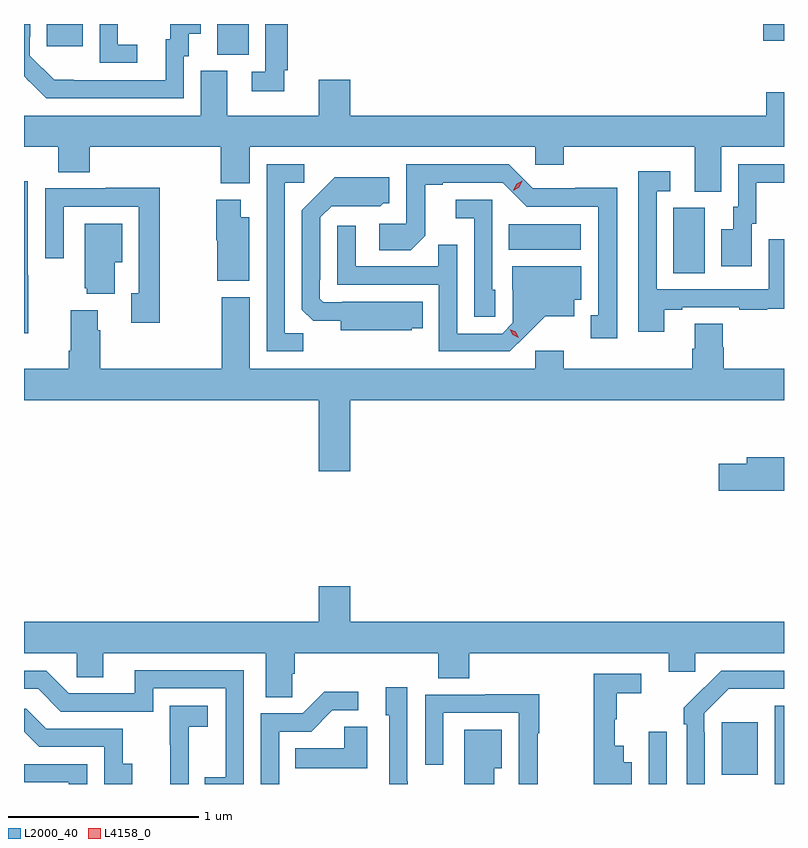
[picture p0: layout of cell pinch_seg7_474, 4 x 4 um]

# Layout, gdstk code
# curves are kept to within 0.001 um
import gdstk
lib = gdstk.Library(unit=1e-6, precision=1e-09)
def R(c, l, rs):  # rectangles x0, y0, x1, y1
    for r in rs: c.add(gdstk.rectangle(r[:2], r[2:], *l))
def P(c, l, *ps):  # polygons
    for p in ps: c.add(gdstk.Polygon(p, *l))
L2000_40 = (2000, 40)
L4158_0 = (4158, 0)

pinch_seg7_474 = lib.new_cell('pinch_seg7_474')
R(pinch_seg7_474, L2000_40, [(178.731,1071.855,178.827,1072.129), (179.394,1071.855,179.444,1072.266), (179.117,1071.905,179.305,1072.18), (178.862,1074.544,179.026,1074.888), (177.994,1074.668,178.375,1074.802), (176.462,1075.693,176.626,1075.855), (175.565,1075.737,175.753,1075.855), (179.336,1075.766,179.444,1075.855)])
P(pinch_seg7_474, L2000_40, [(176.813,1075.612),(176.831,1075.612),(176.831,1075.855),(176.715,1075.855),(176.715,1075.605),(176.643,1075.605),(176.643,1075.5),(176.813,1075.5)],
  [(176.041,1075.746),(175.938,1075.746),(175.938,1075.855),(175.842,1075.855),(175.842,1075.65),(176.041,1075.65)],
  [(176.286,1075.686),(176.311,1075.686),(176.311,1075.805),(176.374,1075.805),(176.374,1075.855),(176.213,1075.855),(176.213,1075.776),(176.189,1075.776),(176.189,1075.56),(175.602,1075.561),(175.473,1075.689),(175.473,1075.789),(175.476,1075.789),(175.476,1075.855),(175.444,1075.855),(175.444,1075.58),(175.47,1075.554),(175.471,1075.555),(175.562,1075.464),(176.286,1075.464)],
  [(179.113,1075.208),(179.444,1075.208),(179.444,1075.496),(179.351,1075.496),(179.351,1075.372),(177.16,1075.372),(177.16,1075.561),(176.996,1075.561),(176.996,1075.372),(176.515,1075.372),(176.515,1075.608),(176.375,1075.608),(176.375,1075.372),(175.444,1075.372),(175.444,1075.208),(175.625,1075.208),(175.625,1075.075),(175.79,1075.075),(175.79,1075.208),(176.48,1075.208),(176.48,1075.016),(176.632,1075.016),(176.632,1075.208),(178.134,1075.208),(178.134,1075.115),(178.286,1075.115),(178.286,1075.208),(178.973,1075.208),(178.973,1074.973),(179.113,1074.973)],
  [(176.913,1074.227),(176.817,1074.227),(176.817,1075.02),(176.92,1075.02),(176.92,1075.116),(176.721,1075.116),(176.721,1074.132),(176.913,1074.132)],
  [(178.567,1074.992),(178.344,1074.992),(178.344,1074.99),(178.122,1074.99),(177.996,1075.116),(177.456,1075.116),(177.456,1074.804),(177.315,1074.804),(177.315,1074.664),(177.479,1074.664),(177.555,1074.74),(177.555,1075.008),(177.649,1075.008),(177.649,1075.02),(177.963,1075.02),(178.089,1074.894),(178.466,1074.894),(178.466,1074.321),(178.427,1074.321),(178.427,1074.201),(178.567,1074.201)],
  [(179.275,1074.804),(179.299,1074.804),(179.299,1075.02),(179.444,1075.02),(179.444,1075.116),(179.202,1075.116),(179.202,1074.894),(179.177,1074.894),(179.177,1074.775),(179.114,1074.775),(179.114,1074.579),(179.275,1074.579)],
  [(178.813,1074.351),(178.909,1074.351),(178.909,1074.363),(179.209,1074.363),(179.209,1074.351),(179.357,1074.351),(179.357,1074.357),(179.444,1074.357),(179.444,1074.721),(179.364,1074.721),(179.364,1074.459),(178.773,1074.459),(178.773,1074.975),(178.846,1074.975),(178.846,1075.081),(178.677,1075.081),(178.677,1074.234),(178.813,1074.234)],
  [(177.486,1074.254),(177.542,1074.254),(177.542,1074.394),(177.118,1074.394),(177.118,1074.39),(177.018,1074.39),(177,1074.408),(177,1074.508),(177.003,1074.508),(177.003,1074.837),(177.063,1074.897),(177.32,1074.896),(177.336,1074.912),(177.367,1074.912),(177.367,1075.048),(177.079,1075.048),(176.907,1074.874),(176.907,1074.352),(176.966,1074.293),(177.11,1074.293),(177.11,1074.242),(177.486,1074.242)],
  [(175.467,1074.533),(175.464,1074.533),(175.464,1075.027),(175.444,1075.027),(175.444,1074.227),(175.467,1074.227)],
  [(176.158,1074.992),(175.873,1074.992),(175.873,1074.99),(175.557,1074.99),(175.557,1074.621),(175.653,1074.621),(175.653,1074.894),(176.049,1074.894),(176.049,1074.438),(176.009,1074.438),(176.009,1074.282),(176.158,1074.282)],
  [(176.629,1074.838),(176.584,1074.838),(176.584,1074.931),(176.455,1074.931),(176.455,1074.717),(176.462,1074.717),(176.462,1074.503),(176.629,1074.503)],
  [(177.924,1074.456),(177.909,1074.456),(177.909,1074.93),(177.717,1074.93),(177.717,1074.833),(177.813,1074.833),(177.813,1074.313),(177.924,1074.313)],
  [(175.921,1074.602),(175.96,1074.602),(175.96,1074.805),(175.763,1074.805),(175.763,1074.465),(175.775,1074.465),(175.775,1074.434),(175.921,1074.434)],
  [(178.084,1074.215),(178.187,1074.317),(178.339,1074.317),(178.339,1074.404),(178.378,1074.404),(178.378,1074.58),(178.013,1074.58),(178.013,1074.456),(178.017,1074.456),(178.017,1074.282),(177.96,1074.225),(177.723,1074.225),(177.723,1074.692),(177.625,1074.692),(177.625,1074.579),(177.189,1074.579),(177.189,1074.793),(177.093,1074.793),(177.093,1074.483),(177.627,1074.483),(177.627,1074.132),(178,1074.132)],
  [(177.16,1073.876),(179.444,1073.876),(179.444,1074.04),(179.126,1074.04),(179.126,1074.153),(179.121,1074.153),(179.121,1074.278),(178.973,1074.278),(178.973,1074.146),(178.961,1074.146),(178.961,1074.04),(178.286,1074.04),(178.286,1074.136),(178.134,1074.136),(178.134,1074.04),(176.632,1074.04),(176.632,1074.418),(176.485,1074.418),(176.485,1074.04),(175.844,1074.04),(175.844,1074.242),(175.831,1074.242),(175.831,1074.349),(175.691,1074.349),(175.691,1074.136),(175.679,1074.136),(175.679,1074.04),(175.444,1074.04),(175.444,1073.876),(176.996,1073.876),(176.996,1073.502),(177.16,1073.502)],
  [(179.444,1073.575),(179.249,1073.575),(179.249,1073.541),(179.1,1073.541),(179.1,1073.399),(179.444,1073.399)],
  [(176.856,1072.435),(176.87,1072.435),(176.87,1072.544),(177.623,1072.544),(177.623,1072.411),(177.788,1072.411),(177.788,1072.544),(178.838,1072.544),(178.838,1072.446),(178.977,1072.446),(178.977,1072.544),(179.444,1072.544),(179.444,1072.708),(177.16,1072.708),(177.16,1072.897),(176.996,1072.897),(176.996,1072.708),(175.444,1072.708),(175.444,1072.544),(175.722,1072.544),(175.722,1072.417),(175.861,1072.417),(175.861,1072.544),(176.717,1072.544),(176.717,1072.312),(176.856,1072.312)],
  [(176.601,1072.455),(176.027,1072.455),(176.027,1072.332),(175.68,1072.332),(175.56,1072.452),(175.444,1072.452),(175.444,1072.356),(175.518,1072.356),(175.638,1072.236),(176.124,1072.236),(176.124,1072.359),(176.505,1072.359),(176.505,1071.89),(176.395,1071.89),(176.395,1071.855),(176.601,1071.855)],
  [(179.028,1072.127),(179.025,1072.127),(179.025,1072.227),(179.154,1072.356),(179.444,1072.356),(179.444,1072.452),(179.114,1072.452),(178.917,1072.257),(178.917,1072.169),(178.932,1072.169),(178.932,1071.855),(179.028,1071.855)],
  [(178.642,1071.97),(178.6,1071.97),(178.6,1072.057),(178.553,1072.057),(178.553,1072.197),(178.564,1072.197),(178.564,1072.333),(178.693,1072.333),(178.693,1072.434),(178.443,1072.434),(178.443,1072.053),(178.442,1072.053),(178.442,1071.855),(178.642,1071.855)],
  [(177.465,1071.869),(177.462,1071.869),(177.462,1072.363),(177.347,1072.363),(177.347,1072.218),(177.366,1072.218),(177.366,1071.855),(177.465,1071.855)],
  [(176.787,1072.131),(176.956,1072.131),(177.067,1072.242),(177.202,1072.242),(177.202,1072.34),(177.023,1072.34),(176.91,1072.227),(176.691,1072.227),(176.691,1071.855),(176.787,1071.855)],
  [(178.148,1072.123),(178.156,1072.123),(178.156,1072.328),(177.871,1072.328),(177.871,1072.326),(177.555,1072.326),(177.555,1071.957),(177.651,1071.957),(177.651,1072.23),(178.047,1072.23),(178.047,1071.855),(178.148,1071.855)],
  [(176.31,1071.929),(176.312,1071.929),(176.312,1072.157),(176.41,1072.157),(176.41,1072.267),(176.212,1072.267),(176.212,1072.061),(176.213,1072.061),(176.213,1071.855),(176.31,1071.855)],
  [(176.014,1071.961),(175.965,1071.961),(175.965,1072.146),(175.561,1072.146),(175.456,1072.251),(175.444,1072.251),(175.444,1072.13),(175.524,1072.05),(175.866,1072.05),(175.866,1071.855),(176.014,1071.855)],
  [(177.25,1072.157),(177.129,1072.157),(177.129,1072.042),(176.872,1072.042),(176.872,1071.938),(177.25,1071.938)],
  [(177.919,1071.938),(177.958,1071.938),(177.958,1072.141),(177.761,1072.141),(177.761,1071.855),(177.919,1071.855)],
  [(175.776,1071.96),(175.444,1071.96),(175.444,1071.864),(175.68,1071.864),(175.68,1071.855),(175.776,1071.855)])
P(pinch_seg7_474, L4158_0, [(178.018,1074.978),(178.018,1074.979),(178.035,1075.011),(178.067,1075.03),(178.067,1075.03),(178.067,1075.03),(178.05,1074.997),(178.018,1074.978)],
  [(178.048,1074.204),(178.017,1074.219),(178,1074.248),(178,1074.249),(178,1074.249),(178.031,1074.234),(178.048,1074.204),(178.048,1074.204)])

lib.write_gds('pinch_seg7_474.gds')
